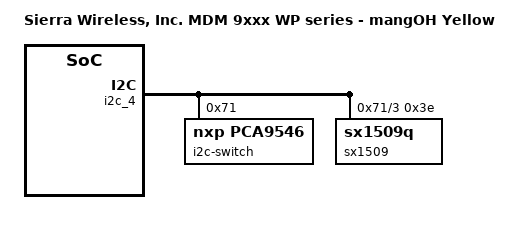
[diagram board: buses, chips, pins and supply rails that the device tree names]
/*
 * Copyright (c) 2019, The Linux Foundation. All rights reserved.
 *
 * This program is free software; you can redistribute it and/or modify
 * it under the terms of the GNU General Public License version 2 and
 * only version 2 as published by the Free Software Foundation.
 *
 * This program is distributed in the hope that it will be useful,
 * but WITHOUT ANY WARRANTY; without even the implied warranty of
 * MERCHANTABILITY or FITNESS FOR A PARTICULAR PURPOSE.  See the
 * GNU General Public License for more details.
 */

#include <dt-bindings/interrupt-controller/irq.h>

/ {
	model = "Sierra Wireless, Inc. MDM 9xxx WP series - mangOH Yellow";
	compatible = "qcom,mdm9607-mtp", "qcom,mdm9607", "qcom,mtp";
	qcom,board-id = <8 0x84>;
};

&soc {
	sierra_gpio {
		alias-TP500		= <300 0>;
		alias-WL_REG_ON		= <301 0>;
		alias-TP501		= <302 0>;
		alias-BT_DEV_WAKE	= <303 0>;
		alias-GENERIC_LED	= <304 0>;
		alias-PCM_EXP_SEL	= <305 0>;
		alias-TP502		= <306 0>;
		alias-TRI_LED_BLUE	= <307 0>;
		alias-CARD_DETECT_IOT0	= <308 0>;
		alias-BATT_GAUGE_GPIO	= <309 0>;
		alias-TRI_LED_RED	= <310 0>;
		alias-BAT_VOL_MONITOR	= <311 0>;
		alias-CHARGER_INT_N	= <312 0>;
		alias-MAG_DATA_READY	= <313 0>;
		alias-RTC_INT		= <314 0>;
		alias-TRI_LED_GREEN	= <315 0>;
	};
};


&i2c_4 {
	i2c-switch@71 {
		compatible = "nxp,pca9546";
		reg = <0x71>;
		#address-cells = <1>;
		#size-cells = <0>;

		i2c@0 {
			#address-cells = <1>;
			#size-cells = <0>;
			reg = <0>;
		};
		i2c@1 {
			#address-cells = <1>;
			#size-cells = <0>;
			reg = <1>;
		};
		i2c@2 {
			#address-cells = <1>;
			#size-cells = <0>;
			reg = <2>;
		};
		i2c@3 {
			#address-cells = <1>;
			#size-cells = <0>;
			reg = <3>;

			sx1509: gpio-expander@3E {
				compatible = "sx1509q";
				reg = <0x3E>;

				gpio-controller;
				#gpio-cells = <2>;

				sx150x,pullup_ena = <0x0>;
				sx150x,pulldn_ena = <0x0>;
				sx150x,float_ena = <0x0>;
				sx150x,polarity = <0x0>;
				sx150x,gpio_base = <300>;
			};
		};
	};
};
